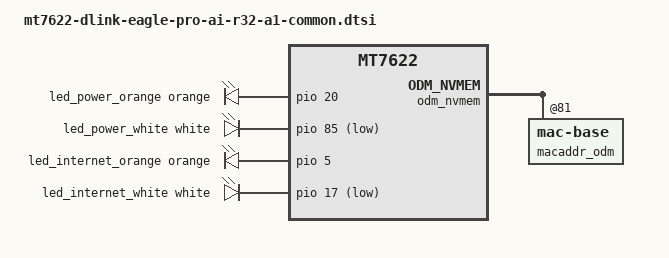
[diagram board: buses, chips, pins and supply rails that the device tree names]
// SPDX-License-Identifier: GPL-2.0-or-later OR MIT

/ {
	aliases {
		led-boot = &led_power_orange;
		led-failsafe = &led_power_orange;
		led-running = &led_power_white;
		led-upgrade = &led_power_orange;
	};

	leds {
		led_power_orange: led-power-orange {
			color = <LED_COLOR_ID_ORANGE>;
			function = LED_FUNCTION_STATUS;
			gpios = <&pio 20 GPIO_ACTIVE_HIGH>;
		};

		led_power_white: led-power-white {
			color = <LED_COLOR_ID_WHITE>;
			function = LED_FUNCTION_STATUS;
			gpios = <&pio 85 GPIO_ACTIVE_LOW>;
		};

		led_internet_orange: led-internet-orange {
			color = <LED_COLOR_ID_ORANGE>;
			function = "internet"; // LED_FUNCTION_INTERNET;
			gpios = <&pio 5 GPIO_ACTIVE_HIGH>;
		};

		led_internet_white: led-internet-white {
			color = <LED_COLOR_ID_WHITE>;
			function = "internet"; // LED_FUNCTION_INTERNET;
			gpios = <&pio 17 GPIO_ACTIVE_LOW>;
		};
	};
};

&odm_nvmem {
	macaddr_odm: macaddr@81 {
		compatible = "mac-base";
		reg = <0x81 0x6>;
		#nvmem-cell-cells = <1>;
	};
};
